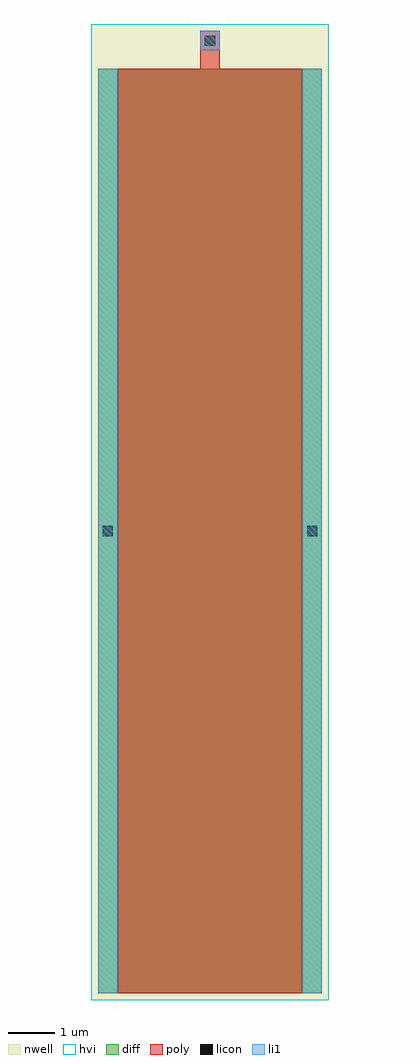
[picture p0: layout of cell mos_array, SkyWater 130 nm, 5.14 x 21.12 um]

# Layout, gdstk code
import gdstk
lib = gdstk.Library(unit=1e-6, precision=1e-09)
def R(c, l, rs):  # rectangles x0, y0, x1, y1
    for r in rs: c.add(gdstk.rectangle(r[:2], r[2:], *l))
nwell = (64, 20)
diff = (65, 20)
poly = (66, 20)
licon = (66, 44)
li1 = (67, 20)
hvi = (75, 20)

mos_array = lib.new_cell('mos_array')
R(mos_array, nwell, [(-0.15,-0.15,4.99,20.97)])
R(mos_array, diff, [(0,0,4.84,20)])
R(mos_array, poly, [(0.42,0,4.42,20), (2.21,20,2.63,20.82)])
R(mos_array, licon, [(0.1,9.89,0.32,10.11), (4.52,9.89,4.74,10.11), (2.31,20.5,2.53,20.72)])
R(mos_array, li1, [(0,0,0.42,20), (4.42,0,4.84,20), (2.21,20.4,2.63,20.82)])
R(mos_array, hvi, [(-0.15,-0.15,4.99,20.97)])

lib.write_gds('mos_array.gds')
